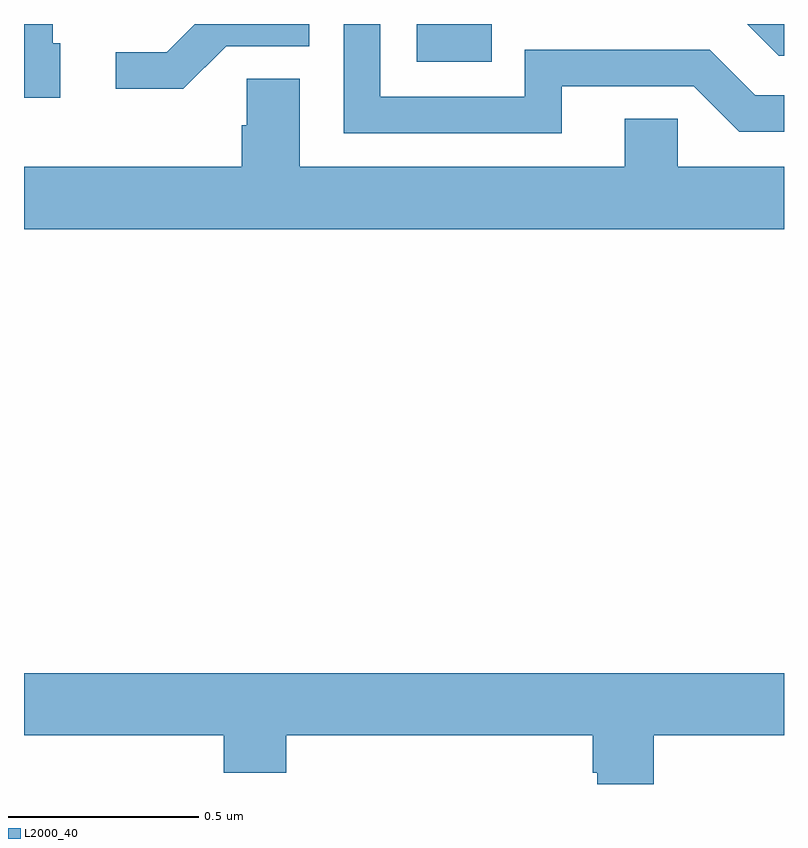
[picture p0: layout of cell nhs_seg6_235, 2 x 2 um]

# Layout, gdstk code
import gdstk
lib = gdstk.Library(unit=1e-6, precision=1e-09)
def R(c, l, rs):  # rectangles x0, y0, x1, y1
    for r in rs: c.add(gdstk.rectangle(r[:2], r[2:], *l))
def P(c, l, *ps):  # polygons
    for p in ps: c.add(gdstk.Polygon(p, *l))
L2000_40 = (2000, 40)

nhs_seg6_235 = lib.new_cell('nhs_seg6_235')
R(nhs_seg6_235, L2000_40, [(114.033,990.401,114.231,990.5)])
P(nhs_seg6_235, L2000_40, [(115,990.5),(114.903,990.5),(114.986,990.417),(115,990.417)],
  [(113.532,990.441),(113.751,990.441),(113.751,990.5),(113.449,990.5),(113.375,990.426),(113.241,990.426),(113.241,990.329),(113.419,990.329)],
  [(113.095,990.45),(113.076,990.45),(113.076,990.5),(113,990.5),(113,990.306),(113.095,990.306)],
  [(114.415,990.336),(114.762,990.336),(114.882,990.216),(115,990.216),(115,990.312),(114.924,990.312),(114.804,990.432),(114.318,990.432),(114.318,990.309),(113.937,990.309),(113.937,990.5),(113.841,990.5),(113.841,990.213),(114.415,990.213)],
  [(115,990.124),(114.72,990.124),(114.72,990.251),(114.581,990.251),(114.581,990.124),(113.725,990.124),(113.725,990.356),(113.586,990.356),(113.586,990.233),(113.573,990.233),(113.573,990.124),(113,990.124),(113,989.96),(115,989.96)],
  [(114.657,988.628),(115,988.628),(115,988.792),(113,988.792),(113,988.628),(113.525,988.628),(113.525,988.529),(113.69,988.529),(113.69,988.628),(114.497,988.628),(114.497,988.53),(114.509,988.53),(114.509,988.5),(114.657,988.5)])

lib.write_gds('nhs_seg6_235.gds')
